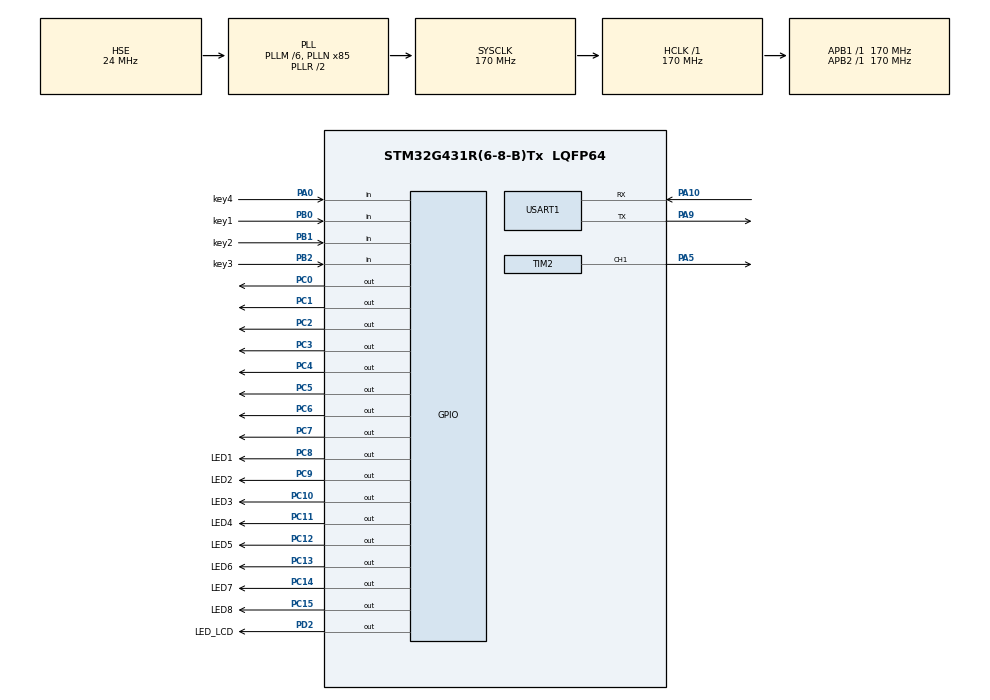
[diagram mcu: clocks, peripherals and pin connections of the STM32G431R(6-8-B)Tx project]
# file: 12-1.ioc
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Mcu.Family=STM32G4
Mcu.Name=STM32G431R(6-8-B)Tx
Mcu.Package=LQFP64
NVIC.PriorityGroup=NVIC_PRIORITYGROUP_4
NVIC.TIM2_IRQn=true\:0\:0\:false\:false\:true\:true\:true\:true
NVIC.TIM3_IRQn=true\:0\:0\:false\:false\:true\:true\:true\:true
NVIC.TIM4_IRQn=true\:0\:0\:false\:false\:true\:true\:true\:true
NVIC.USART1_IRQn=true\:0\:0\:false\:false\:true\:true\:true\:true
PA0.GPIO_Label=key4
PA0.GPIO_PuPd=GPIO_PULLUP
PA0.Signal=GPIO_Input
PA10.Mode=Asynchronous
PA10.Signal=USART1_RX
PA13.Mode=Serial_Wire
PA13.Signal=SYS_JTMS-SWDIO
PA14.Mode=Serial_Wire
PA14.Signal=SYS_JTCK-SWCLK
PA5.Signal=S_TIM2_CH1
PA9.Mode=Asynchronous
PA9.Signal=USART1_TX
PB0.GPIO_Label=key1
PB0.GPIO_PuPd=GPIO_PULLUP
PB0.Signal=GPIO_Input
PB1.GPIO_Label=key2
PB1.GPIO_PuPd=GPIO_PULLUP
PB1.Signal=GPIO_Input
PB2.GPIO_Label=key3
PB2.GPIO_PuPd=GPIO_PULLUP
PB2.Signal=GPIO_Input
PC0.Signal=GPIO_Output
PC1.Signal=GPIO_Output
PC10.GPIO_Label=LED3
PC10.PinState=GPIO_PIN_SET
PC10.Signal=GPIO_Output
PC11.GPIO_Label=LED4
PC11.PinState=GPIO_PIN_SET
PC11.Signal=GPIO_Output
PC12.GPIO_Label=LED5
PC12.PinState=GPIO_PIN_SET
PC12.Signal=GPIO_Output
PC13.GPIO_Label=LED6
PC13.PinState=GPIO_PIN_SET
PC13.Signal=GPIO_Output
PC14-OSC32_IN.GPIO_Label=LED7
PC14-OSC32_IN.PinState=GPIO_PIN_SET
PC14-OSC32_IN.Signal=GPIO_Output
PC15-OSC32_OUT.GPIO_Label=LED8
PC15-OSC32_OUT.PinState=GPIO_PIN_SET
PC15-OSC32_OUT.Signal=GPIO_Output
PC2.Signal=GPIO_Output
PC3.Signal=GPIO_Output
PC4.Signal=GPIO_Output
PC5.Signal=GPIO_Output
PC6.Signal=GPIO_Output
PC7.Signal=GPIO_Output
PC8.GPIO_Label=LED1
PC8.GPIO_ModeDefaultOutputPP=GPIO_MODE_OUTPUT_PP
PC8.GPIO_PuPd=GPIO_NOPULL
PC8.GPIO_Speed=GPIO_SPEED_FREQ_LOW
PC8.PinState=GPIO_PIN_SET
PC8.Signal=GPIO_Output
PC9.GPIO_Label=LED2
PC9.GPIO_ModeDefaultOutputPP=GPIO_MODE_OUTPUT_PP
PC9.GPIO_PuPd=GPIO_NOPULL
PC9.GPIO_Speed=GPIO_SPEED_FREQ_LOW
PC9.PinState=GPIO_PIN_SET
PC9.Signal=GPIO_Output
PD2.GPIO_Label=LED_LCD
PD2.Signal=GPIO_Output
PF0-OSC_IN.Mode=HSE-External-Oscillator
PF0-OSC_IN.Signal=RCC_OSC_IN
PF1-OSC_OUT.Mode=HSE-External-Oscillator
PF1-OSC_OUT.Signal=RCC_OSC_OUT
ProjectManager.HeapSize=0x200
ProjectManager.StackSize=0x400
ProjectManager.TargetToolchain=MDK-ARM V5.32
RCC.ADC12Freq_Value=170000000
RCC.AHBFreq_Value=170000000
RCC.APB1Freq_Value=170000000
RCC.APB1TimFreq_Value=170000000
RCC.APB2Freq_Value=170000000
RCC.APB2TimFreq_Value=170000000
RCC.CortexFreq_Value=170000000
RCC.EXTERNAL_CLOCK_VALUE=12288000
RCC.HCLKFreq_Value=170000000
RCC.HSE_VALUE=24000000
RCC.HSI48_VALUE=48000000
RCC.HSI_VALUE=16000000
RCC.LSE_VALUE=32768
RCC.PLLM=RCC_PLLM_DIV6
RCC.PLLN=85
RCC.PLLSourceVirtual=RCC_PLLSOURCE_HSE
RCC.SYSCLKFreq_VALUE=170000000
RCC.SYSCLKSource=RCC_SYSCLKSOURCE_PLLCLK
RCC.USBFreq_Value=170000000
RCC.VCOOutputFreq_Value=340000000
SH.S_TIM2_CH1.0=TIM2_CH1,PWM Generation1 CH1
TIM2.AutoReloadPreload=TIM_AUTORELOAD_PRELOAD_ENABLE
TIM2.Channel-PWM\ Generation1\ CH1=TIM_CHANNEL_1
TIM2.PeriodNoDither=1000 - 1
TIM2.Prescaler=169
TIM2.PulseNoDither_1=500
TIM3.PeriodNoDither=10000
TIM3.Prescaler=169
TIM4.PeriodNoDither=10000
TIM4.Prescaler=1699
USART1.VirtualMode-Asynchronous=VM_ASYNC
VP_SYS_VS_DBSignals.Mode=DisableDeadBatterySignals
VP_TIM2_VS_ClockSourceINT.Mode=Internal
VP_TIM3_VS_ClockSourceINT.Mode=Internal
VP_TIM4_VS_ClockSourceINT.Mode=Internal
board=custom

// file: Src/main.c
/* USER CODE BEGIN Header */
/**
  ******************************************************************************
  * @file           : main.c
  * @brief          : Main program body
  ******************************************************************************
  * @attention
  *
  * Copyright (c) 2023 STMicroelectronics.
  * All rights reserved.
  *
  * This software is licensed under terms that can be found in the LICENSE file
  * in the root directory of this software component.
  * If no LICENSE file comes with this software, it is provided AS-IS.
  *
  ******************************************************************************
  */
/* USER CODE END Header */
#include "main.h"
#include "tim.h"
#include "usart.h"
#include "gpio.h"

/* USER CODE BEGIN Includes */
#include "user.h"
/* USER CODE END Includes */

/* USER CODE BEGIN PTD */
typedef enum
{
	key_up = 0U,
	key_down,
	key_wait
}key_states;

extern UART_HandleTypeDef huart1;
extern unsigned char num;
uint8_t lcd_str0[20],lcd_str1[20],lcd_str2[20],lcd_str3[20];
uint8_t Rxbuff[7];
uint8_t password[4] = {'1','2','3','\0'};
int password_text[4] = {0,0,0,0};
uint8_t jiemian = 0, qing = 0, password_HZ = 0;
unsigned char lcd_flag = 0, pwm_time=0, error_count = 0,led2_time = 0,led2_flag=0;
extern struct keys key[4];
/* USER CODE END PTD */

void SystemClock_Config(void);

/* USER CODE BEGIN 0 */
int fputc(int ch, FILE *f)
{
  HAL_UART_Transmit(&huart1, (uint8_t *)&ch, 1, 0xffff);
  return ch;
}
/* USER CODE END 0 */

int main(void)
{

  /* MCU Configuration--------------------------------------------------------*/

  /* Reset of all peripherals, Initializes the Flash interface and the Systick. */
  HAL_Init();

  /* USER CODE BEGIN Init */
//	key_init();
	LCD_Init();
  /* USER CODE END Init */

  /* Configure the system clock */
  SystemClock_Config();

  /* Initialize all configured peripherals */
  MX_GPIO_Init();
  MX_USART1_UART_Init();
  MX_TIM3_Init();
  MX_TIM4_Init();
  MX_TIM2_Init();
  /* USER CODE BEGIN 2 */
	//黑背景 白字 关闭所有LED
	LCD_SetBackColor(Black);
	LCD_SetTextColor(White);
	led_turndown();
	LCD_Clear(Black);
	//定时器启动
	HAL_TIM_Base_Start_IT(&htim4);
	HAL_TIM_Base_Start_IT(&htim3);
	HAL_TIM_PWM_Start_IT(&htim2,TIM_CHANNEL_1);
	//打开串口的中断接收功能
	HAL_UART_Receive_IT(&huart1,(uint8_t *)&Rxbuff,sizeof(Rxbuff));
  /* USER CODE END 2 */

  /* Infinite loop */
  /* USER CODE BEGIN WHILE */
  while (1)
  {
		//pwm 切换输出
		Pwm_chage();
    /* USER CODE END WHILE */

  }
}

void SystemClock_Config(void)
{
  RCC_OscInitTypeDef RCC_OscInitStruct = {0};
  RCC_ClkInitTypeDef RCC_ClkInitStruct = {0};

  /** Configure the main internal regulator output voltage
  */
  HAL_PWREx_ControlVoltageScaling(PWR_REGULATOR_VOLTAGE_SCALE1_BOOST);

  /** Initializes the RCC Oscillators according to the specified parameters
  * in the RCC_OscInitTypeDef structure.
  */
  RCC_OscInitStruct.OscillatorType = RCC_OSCILLATORTYPE_HSE;
  RCC_OscInitStruct.HSEState = RCC_HSE_ON;
  RCC_OscInitStruct.PLL.PLLState = RCC_PLL_ON;
  RCC_OscInitStruct.PLL.PLLSource = RCC_PLLSOURCE_HSE;
  RCC_OscInitStruct.PLL.PLLM = RCC_PLLM_DIV6;
  RCC_OscInitStruct.PLL.PLLN = 85;
  RCC_OscInitStruct.PLL.PLLP = RCC_PLLP_DIV2;
  RCC_OscInitStruct.PLL.PLLQ = RCC_PLLQ_DIV2;
  RCC_OscInitStruct.PLL.PLLR = RCC_PLLR_DIV2;
  if (HAL_RCC_OscConfig(&RCC_OscInitStruct) != HAL_OK)
  {
    Error_Handler();
  }

  /** Initializes the CPU, AHB and APB buses clocks
  */
  RCC_ClkInitStruct.ClockType = RCC_CLOCKTYPE_HCLK|RCC_CLOCKTYPE_SYSCLK
                              |RCC_CLOCKTYPE_PCLK1|RCC_CLOCKTYPE_PCLK2;
  RCC_ClkInitStruct.SYSCLKSource = RCC_SYSCLKSOURCE_PLLCLK;
  RCC_ClkInitStruct.AHBCLKDivider = RCC_SYSCLK_DIV1;
  RCC_ClkInitStruct.APB1CLKDivider = RCC_HCLK_DIV1;
  RCC_ClkInitStruct.APB2CLKDivider = RCC_HCLK_DIV1;

  if (HAL_RCC_ClockConfig(&RCC_ClkInitStruct, FLASH_LATENCY_4) != HAL_OK)
  {
    Error_Handler();
  }
}

/* USER CODE BEGIN 4 */
void HAL_TIM_PeriodElapsedCallback(TIM_HandleTypeDef *htim)
{
	if(htim->Instance == TIM3)
	{
		key_scanf();
		if(key[0].flag == 1)//按键输入密码
		{
			password_HZ = 1;
			password_text[0] = (password_text[0] + 1)%10;
		}
		if(key[1].flag == 1)
		{
			password_HZ = 1;
			password_text[1] = (password_text[1] + 1)%10;
		}
		if(key[2].flag == 1)
		{
			password_HZ = 1;
			password_text[2] = (password_text[2] + 1)%10;
		}
		if(key[3].flag == 1)//按键4确认
		{
			if((uint8_t)(password_text[0] + 48) == password[0] &&
					(uint8_t)(password_text[1] + 48) == password[1] &&
						(uint8_t)(password_text[2] + 48) == password[2]){
				lcd_flag = 1;
				LCD_Clear(Black);
			}
			else{//错误计数
				error_count = error_count + 1;
			}
		}
		for(qing = 0; qing < 4; qing++)
		{
			key[qing].flag = 0;
			key[qing].doubleflag = 0;
			key[qing].longflag = 0;
		}
	}
	if(htim->Instance == TIM4)
	{
		if(lcd_flag == 0){//led2 0.1秒闪烁
			if(error_count >= 3 && led2_time <= 50){
					led2_time++;
					switch(led2_flag){
						case 0:led2_turnOn();led2_flag = 1;break;
						case 1:led2_turnDown();led2_flag = 0;break;
					}
			}
			else if(led2_time >= 50){
				led2_time = 0;
				error_count = 2;
				led_turndown();
			}
			if(password_HZ == 0){//启动界面显示
				sprintf((char*)lcd_str0,"       PSD           ");
				sprintf((char*)lcd_str1,"    B1:%c            ",'@');
				sprintf((char*)lcd_str2,"    B2:%c            ",'@');
				sprintf((char*)lcd_str3,"    B3:%c            ",'@');
				HAL_GPIO_WritePin(GPIOD,GPIO_PIN_2,GPIO_PIN_RESET);
				LCD_DisplayStringLine(Line2,lcd_str0);
				LCD_DisplayStringLine(Line4,lcd_str1);
				LCD_DisplayStringLine(Line5,lcd_str2);
				LCD_DisplayStringLine(Line6,lcd_str3);
			}
			else{//密码锁显示
				sprintf((char*)lcd_str0,"       PSD           ");
				sprintf((char*)lcd_str1,"    B1:%c            ",(uint8_t)(password_text[0] + 48));
				sprintf((char*)lcd_str2,"    B2:%c            ",(uint8_t)(password_text[1] + 48));
				sprintf((char*)lcd_str3,"    B3:%c            ",(uint8_t)(password_text[2] + 48));
				HAL_GPIO_WritePin(GPIOD,GPIO_PIN_2,GPIO_PIN_RESET);
				LCD_DisplayStringLine(Line2,lcd_str0);
				LCD_DisplayStringLine(Line4,lcd_str1);
				LCD_DisplayStringLine(Line5,lcd_str2);
				LCD_DisplayStringLine(Line6,lcd_str3);
			}
		}
		else{
				if(pwm_time <= 50){//PWM 2KHZ计时
					pwm_time++;
				}
				if(pwm_time <= 50){//2KHZ
					sprintf((char*)lcd_str0,"       STA           ");
					sprintf((char*)lcd_str1,"    F:2000HZ         ");
					sprintf((char*)lcd_str2,"    D:10%%           ");
					HAL_GPIO_WritePin(GPIOD,GPIO_PIN_2,GPIO_PIN_RESET);
					LCD_DisplayStringLine(Line2,lcd_str0);
					LCD_DisplayStringLine(Line4,lcd_str1);
					LCD_DisplayStringLine(Line5,lcd_str2);
				}
				else{//正常界面显示
					sprintf((char*)lcd_str0,"       STA           ");
					sprintf((char*)lcd_str1,"    F:1000HZ         ");
					sprintf((char*)lcd_str2,"    D:50%%           ");
					HAL_GPIO_WritePin(GPIOD,GPIO_PIN_2,GPIO_PIN_RESET);
					LCD_DisplayStringLine(Line2,lcd_str0);
					LCD_DisplayStringLine(Line4,lcd_str1);
					LCD_DisplayStringLine(Line5,lcd_str2);
				}
		}
	}
}

void HAL_UART_RxCpltCallback(UART_HandleTypeDef *huart)
{
	if(huart->Instance == USART1){//串口传输密码，密码替换
		// 重新使能中断
		HAL_UART_Receive_IT(huart,(uint8_t *)&Rxbuff,sizeof(Rxbuff));
		if(Rxbuff[3] == '-' && Rxbuff[0] == password[0] && Rxbuff[1] == password[1] && Rxbuff[2] == password[2]
		&& Rxbuff[4] >= '0' && Rxbuff[4] <= '9' && Rxbuff[5] >= '0' && Rxbuff[5] <= '9'
			&& Rxbuff[6] >= '0' && Rxbuff[6] <= '9'){
				password[0] = Rxbuff[4];
				password[1] = Rxbuff[5];
				password[2] = Rxbuff[6];
			}
	}
}

/* USER CODE END 4 */

void Error_Handler(void)
{
  __disable_irq();
  while (1)
  {
  }
}
